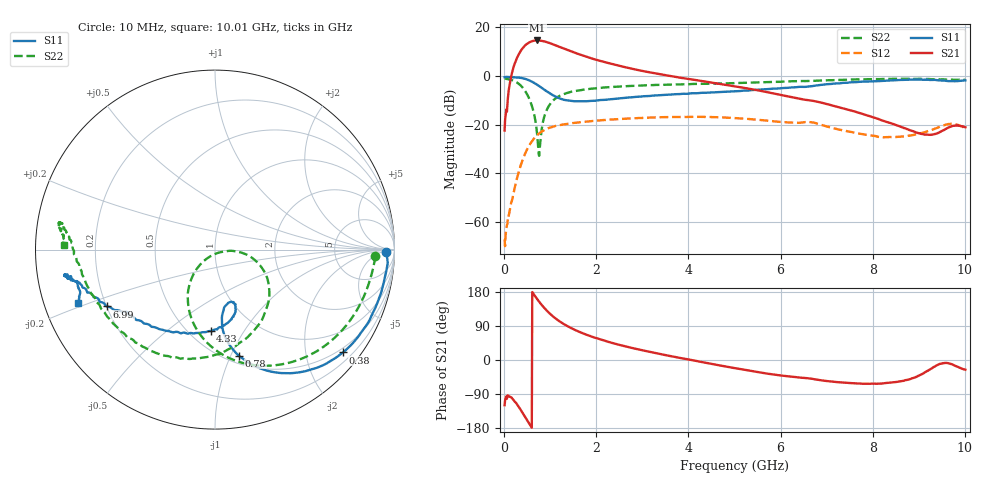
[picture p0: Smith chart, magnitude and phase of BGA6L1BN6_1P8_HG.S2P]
!Agilent Technologies,E5071C,MY46317100,A.11.08
!Date: Wed Jun 03 12:59:31 2015
!Data & Calibration Information:
!Freq	S11:SOLT2(ON)	S21:SOLT2(ON)	S12:SOLT2(ON)	S22:SOLT2(ON)
!PortZ  Port1:50+j0  Port2:50+j0
!Above PortZ is port z conversion or system Z0 setting when saving the data.
!When reading, reference impedance value at option line is always used.
# Hz S RI R 50
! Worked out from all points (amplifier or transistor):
!   1001 points, 10 MHz to 10.01 GHz, reference 50 ohm
!   highest |S21| = 14.7 dB at 720 MHz (marker M1)
!   |S21| within 3 dB of that: 409.2 MHz to 1.25 GHz (840.7 MHz wide, 101 % of centre)
!   unconditionally stable (mu >= 1): start of sweep to end of sweep
!   at 1.67 GHz: K = 1.23, MAG = 10.9 dB, |S12| = -18.9 dB
!   at 5.01 GHz: K = 2.37, MAG = 0.0 dB, |S12| = -17.2 dB
!   at 10.01 GHz: K = 5.76, MAG = -10.4 dB, |S12| = -21.4 dB
!   lowest NFmin = 0.48 dB at 900 MHz
!   S11 on the Smith chart (normalised r, x): 10 MHz: 38, -12; 380 MHz: 0.40, -2.79; 780 MHz: 0.58, -1.07; 4.33 GHz: 0.63, -0.72; 6.99 GHz: 0.20, -0.24; 10.01 GHz: 0.10, -0.19
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1e7  0.9531 -0.0146  -0.0373 -0.0665  -0.000334 0.00029  0.893 -0.0383
1e8  0.9465 -0.1516  -0.0506 -0.5194  -0.000932 0.00101  0.8017 -0.3172
2.1e8  0.8905 -0.3305  -0.454 -1.538  -0.00366 0.00202  0.5667 -0.5664
3.1e8  0.8015 -0.4805  -1.461 -2.284  -0.0094 0.00404  0.2772 -0.6472
3.8e8  0.7127 -0.5729  -2.521 -2.469  -0.0149 0.00766  0.085 -0.6069
4.6e8  0.5893 -0.6498  -3.79 -2.071  -0.0214 0.0152  -0.0766 -0.4815
5.6e8  0.4194 -0.6887  -4.951 -0.7802  -0.0269 0.0295  -0.1514 -0.2793
6.4e8  0.2942 -0.6755  -5.293 0.5635  -0.0273 0.0431  -0.1197 -0.1367
7.2e8  0.1923 -0.6331  -5.087 1.837  -0.0237 0.0568  -0.0376 -0.0446
7.8e8  0.1331 -0.5909  -4.676 2.638  -0.0189 0.0661  0.0368 -0.0131
9.2e8  0.057 -0.4869  -3.293 3.784  -0.00273 0.0822  0.1942 -0.0377
1.07e9  0.0384 -0.3979  -1.827 4.086  0.0161 0.0908  0.2862 -0.1457
1.33e9  0.0543 -0.3171  -0.1438 3.562  0.0425 0.0939  0.2849 -0.3334
1.68e9  0.0874 -0.2915  0.8452 2.568  0.0678 0.0912  0.1808 -0.4886
2.41e9  0.1141 -0.3217  1.254 1.162  0.1035 0.0783  -0.0609 -0.6006
3.35e9  0.083 -0.3953  1.064 0.3186  0.1323 0.0538  -0.3159 -0.5801
4.33e9  -0.0244 -0.4537  0.7797 -0.0865  0.1438 0.0202  -0.5363 -0.4424
5.01e9  -0.1512 -0.4684  0.5741 -0.2251  0.1373 -0.00271  -0.6563 -0.2957
6.68e9  -0.5183 -0.3449  0.2031 -0.2378  0.1086 -0.0297  -0.7988 0.037
6.99e9  -0.6029 -0.3164  0.1529 -0.2213  0.0875 -0.0326  -0.8175 0.0746
8.35e9  -0.7976 -0.1718  0.0553 -0.096  0.0555 0.00766  -0.8634 0.1504
1.001e10  -0.7626 -0.2989  0.0803 -0.0385  0.0844 0.0121  -0.8415 0.0271
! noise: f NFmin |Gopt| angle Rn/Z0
7e+08  0.5394  0.5286  43.05  0.13
7.5e+08  0.527  0.5096  45.3  0.132
8e+08  0.5093  0.4955  47.62  0.1255
9e+08  0.4759  0.5053  52.58  0.1209
9.5e+08  0.4809  0.5044  54.79  0.1215
1e+09  0.5007  0.4934  57.12  0.1198
1.2e+09  0.5529  0.462  65.39  0.1251
1.3e+09  0.5689  0.4901  70.99  0.1223
1.4e+09  0.6059  0.4527  74.81  0.1222
1.6e+09  0.7075  0.4285  79.78  0.1276
